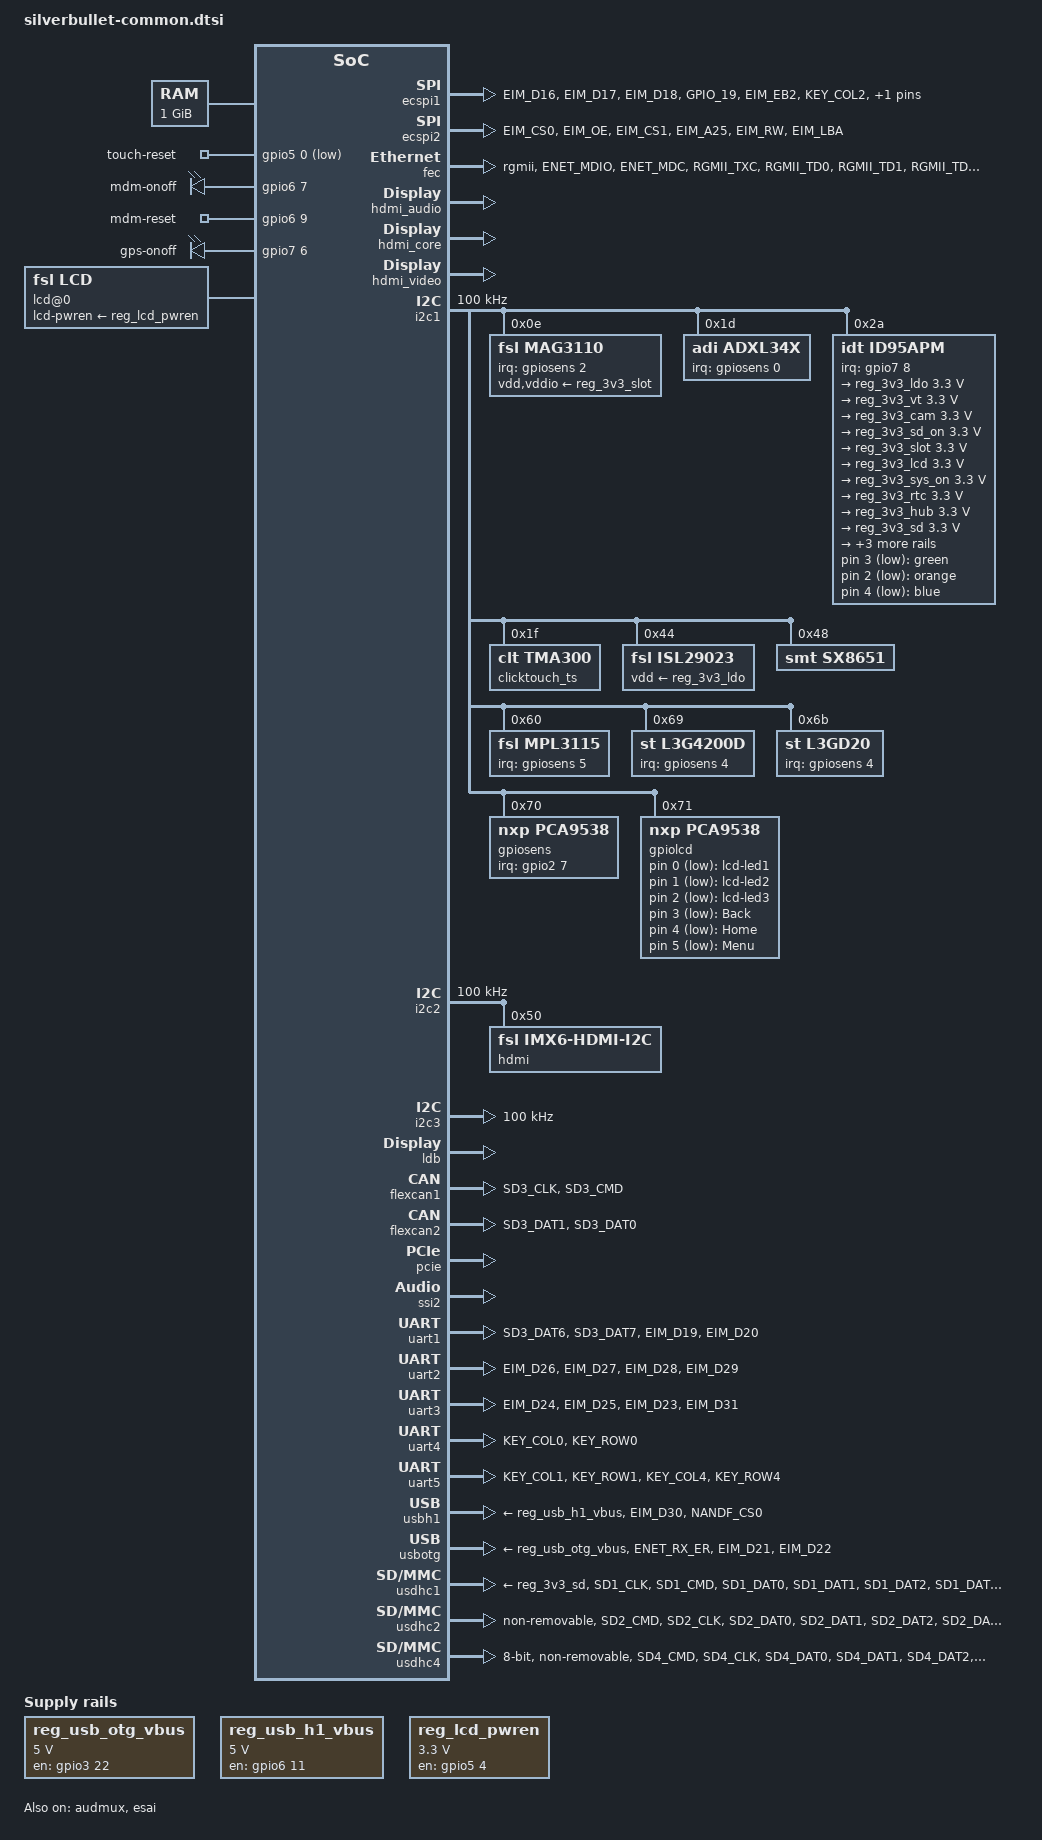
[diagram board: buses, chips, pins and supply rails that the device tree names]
/*
 * Copyright 2012 Freescale Semiconductor, Inc.
 * Copyright 2011 Linaro Ltd.
 *
 * The code contained herein is licensed under the GNU General Public
 * License. You may obtain a copy of the GNU General Public License
 * Version 2 or later at the following locations:
 *
 * http://www.opensource.org/licenses/gpl-license.html
 * http://www.gnu.org/copyleft/gpl.html
 */

#include <dt-bindings/interrupt-controller/irq.h>
#include "silverbullet-pinctrl.h"

/ {
	aliases {
		mxcfb0 = &mxcfb1;
		mxcfb1 = &mxcfb2;
		mxcfb2 = &mxcfb3;
		mxcfb3 = &mxcfb4;
	};

	memory {
		reg = <0x10000000 0x40000000>;
	};

	cpu-leds {
		compatible = "gpio-leds";

		touch-reset {
			label = "touch-reset";
			gpios = <&gpio5 0 1>;
			default-state = "off";
		};

		mdm-onoff {
			label = "mdm-onoff";
			gpios = <&gpio6 7 0>;
			default-state = "off";
		};

		mdm-reset {
			label = "mdm-reset";
			gpios = <&gpio6 9 0>;
			default-state = "off";
		};

		gps-onoff {
			label = "gps-onoff";
			gpios = <&gpio7 6 0>;
			default-state = "off";
		};
	};

	id95apm-leds {
		compatible = "gpio-leds";

		id95apm-dl1 {
			label = "green";
			gpios = <&id95apm 3 1>;
			default-state = "off";
		};

		id95apm-dl2 {
			label = "orange";
			gpios = <&id95apm 2 1>;
			linux,default-trigger = "heartbeat";
		};

		id95apm-led3 {
			label = "blue";
			gpios = <&id95apm 4 1>;
			default-state = "off";
		};
	};

	sens-leds {
		gps-reset {
			label = "gps-reset";
			gpios = <&gpiosens 7 1>;
			default-state = "off";
		};
	};

	lcd-leds {
		compatible = "gpio-leds";

		lcd-led1 {
			label = "lcd-led1";
			gpios = <&gpiolcd 0 1>;
			default-state = "off";
		};

		lcd-led2 {
			label = "lcd-led2";
			gpios = <&gpiolcd 1 1>;
			default-state = "off";
		};

		lcd-led3 {
			label = "lcd-led3";
			gpios = <&gpiolcd 2 1>;
			default-state = "off";
		};
	};

	lcd-keys {
		compatible = "gpio-keys-polled";
		back {
			label = "Back";
			gpios = <&gpiolcd 3 1>;
			linux,code = <158>; /* KEY_BACK */
		};

		home {
			label = "Home";
			gpios = <&gpiolcd 4 1>;
			linux,code = <102>; /* KEY_HOME */
		};

		menu {
			label = "Menu";
			gpios = <&gpiolcd 5 1>;
			linux,code = <139>; /* KEY_MENU */
		};
	};

	regulators {
		compatible = "simple-bus";

		reg_usb_otg_vbus: usb_otg_vbus {
			compatible = "regulator-fixed";
			regulator-name = "usb_otg_vbus";
			regulator-min-microvolt = <5000000>;
			regulator-max-microvolt = <5000000>;
			gpio = <&gpio3 22 0>;
			enable-active-high;
		};

		reg_usb_h1_vbus: usb_h1_vbus {
			compatible = "regulator-fixed";
			regulator-name = "usb_h1_vbus";
			regulator-min-microvolt = <5000000>;
			regulator-max-microvolt = <5000000>;
			gpio = <&gpio6 11 0>;
			enable-active-high;
		};

		reg_lcd_pwren: lcd_pwren {
			compatible = "regulator-fixed";
			regulator-name = "lcd_pwren";
			regulator-min-microvolt = <3300000>;
			regulator-max-microvolt = <3300000>;
			gpio = <&gpio5 4 0>;
			enable-active-high;
		};
	};

	sound-hdmi {
		compatible = "fsl,imx6q-audio-hdmi", "fsl,imx-audio-hdmi";
		model = "imx-audio-hdmi";
		hdmi-controller = <&hdmi_audio>;
	};

	mxcfb1: fb@0 {
		compatible = "fsl,mxc_sdc_fb";
		disp_dev = "lcd";
		interface_pix_fmt = "RGB24";
		mode_str ="SAMSUNG-LMS700";
		default_bpp = <16>;
		int_clk = <0>;
		late_init = <0>;
		status = "ok";
	};

	mxcfb2: fb@1 {
		compatible = "fsl,mxc_sdc_fb";
		disp_dev = "hdmi";
		interface_pix_fmt = "RGB24";
		mode_str ="1920x1080M@60";
		default_bpp = <24>;
		int_clk = <0>;
		late_init = <0>;
		status = "ok";
	};

	mxcfb3: fb@2 {
		compatible = "fsl,mxc_sdc_fb";
		disp_dev = "lcd";
		interface_pix_fmt = "RGB565";
		mode_str ="CLAA-WVGA";
		default_bpp = <16>;
		int_clk = <0>;
		late_init = <0>;
		status = "disabled";
	};

	mxcfb4: fb@3 {
		compatible = "fsl,mxc_sdc_fb";
		disp_dev = "ldb";
		interface_pix_fmt = "RGB666";
		mode_str ="LDB-XGA";
		default_bpp = <16>;
		int_clk = <0>;
		late_init = <0>;
		status = "disabled";
	};

	lcd@0 {
		compatible = "fsl,lcd";
		ipu_id = <0>;
		disp_id = <0>;
		default_ifmt = "RGB24";
		pinctrl-names = "default";
		pinctrl-0 = <&pinctrl_lcd>;
		lcd-pwren-supply = <&reg_lcd_pwren>;
		status = "okay";
	};

	v4l2_cap_0 {
		compatible = "fsl,imx6q-v4l2-capture";
		ipu_id = <0>;
		csi_id = <0>;
		mclk_source = <0>;
		status = "okay";
	};

	v4l2_cap_1 {
		compatible = "fsl,imx6q-v4l2-capture";
		ipu_id = <0>;
		csi_id = <1>;
		mclk_source = <0>;
		status = "okay";
	};

	v4l2_out {
		compatible = "fsl,mxc_v4l2_output";
		status = "okay";
	};
};

&audmux {
	pinctrl-names = "default";
	pinctrl-0 = <&pinctrl_audmux>;
	status = "okay";
};

&cpu0 {
	arm-supply = <&reg_arm>;
	soc-supply = <&reg_soc>;
	pu-supply = <&reg_pu>; /* use pu_dummy if VDDSOC share with VDDPU */
};

&ecspi1 {
	fsl,spi-num-chipselects = <3>;
	cs-gpios = <&gpio2 30 0>, <&gpio4 10 0>, <&gpio4 11 0>;
	pinctrl-names = "default";
	pinctrl-0 = <&pinctrl_ecspi1>;
	status = "okay";
};

&ecspi2 {
	fsl,spi-num-chipselects = <2>;
	cs-gpios = <&gpio2 26 0>, <&gpio2 27 0>;
	pinctrl-names = "default";
	pinctrl-0 = <&pinctrl_ecspi2>;
	status = "okay";
};

&esai {
	pinctrl-names = "default";
	pinctrl-0 = <&pinctrl_esai>;
	status = "okay";
};

&fec {
	pinctrl-names = "default";
	pinctrl-0 = <&pinctrl_enet>;
	phy-mode = "rgmii";
	//phy-reset-gpios = <&gpio1 28 0>;	// let the reset task to U-Boot
	//phy-reset-duration = <100>;		// or phy won't work correctly!
	status = "okay";
};

&gpc {
	fsl,cpu_pupscr_sw2iso = <0xf>;
	fsl,cpu_pupscr_sw = <0xf>;
	fsl,cpu_pdnscr_iso2sw = <0x1>;
	fsl,cpu_pdnscr_iso = <0x1>;
	fsl,ldo-bypass = <0>; /* use ldo-bypass, u-boot will check it and configure */
	fsl,wdog-reset = <1>; /* watchdog select of reset source */
	pu-supply = <&reg_pu>; /* ldo-bypass:use pu_dummy if VDDSOC share with VDDPU */
};

&gpu {
	pu-supply = <&reg_pu>; /* ldo-bypass:use pu_dummy if VDDSOC share with VDDPU */
};

&hdmi_audio {
	status = "okay";
};

&hdmi_core {
	ipu_id = <0>;
	disp_id = <0>;
	status = "okay";
};

&hdmi_video {
	fsl,phy_reg_vlev = <0x0294>;
	fsl,phy_reg_cksymtx = <0x800d>;
	status = "okay";
};

&i2c1 {
	clock-frequency = <100000>;
	pinctrl-names = "default";
	pinctrl-0 = <&pinctrl_i2c1_2>;
	status = "okay";

	mag3110@0e {
		compatible = "fsl,mag3110";
		reg = <0x0e>;
		position = <2>;
		vdd-supply = <&reg_3v3_slot>;
		vddio-supply = <&reg_3v3_slot>;
		interrupt-parent = <&gpiosens>;
		interrupts = <2 IRQ_TYPE_EDGE_FALLING>;
	};

	adxl34x@1d {
		compatible = "adi,adxl34x";
		reg = <0x1d>;
		interrupt-parent = <&gpiosens>;
		interrupts = <0 IRQ_TYPE_EDGE_FALLING>;
	};

	id95apm: id95apm@2a {
		compatible = "idt,id95apm";
		reg = <0x2a>;
		interrupt-parent = <&gpio7>;
		interrupts = <8 IRQ_TYPE_EDGE_FALLING>;

		gpio-controller;
		#gpio-cells = <2>;

		enable-32kHz;

		pwrkey-codes = <102 158 139>; /* KEY_HOME KEY_BACK KEY_MENU */

		regulators {
			reg_3v3_ldo: ldo0 {	/* LDO0: LDO150-0, 0.75-3.70V, 150mA */
				regulator-min-microvolt = <3300000>;
				regulator-max-microvolt = <3300000>;
				regulator-always-on;	// FIXME: need always on?
			};
			reg_3v3_vt: ldo1 {	/* LDO1: LDO150-1, 0.75-3.70V, 150mA */
				regulator-min-microvolt = <3300000>;
				regulator-max-microvolt = <3300000>;
				regulator-always-on;
			};
			reg_3v3_cam: ldo2 {	/* LDO2: LDO150-2, 0.75-3.70V, 150mA */
				regulator-min-microvolt = <3300000>;
				regulator-max-microvolt = <3300000>;
				regulator-always-on;	// FIXME: need always on?
			};
			reg_3v3_sd_on: ldo3 {	/* LDO3: LDO050-0, 0.75-3.70V, 50mA */
				regulator-min-microvolt = <3300000>;
				regulator-max-microvolt = <3300000>;
				regulator-always-on;
			};
			reg_3v3_slot: ldo4 {	/* LDO4: LDO050-1, 0.75-3.70V, 50mA */
				regulator-min-microvolt = <3300000>;
				regulator-max-microvolt = <3300000>;
				regulator-always-on;	// FIXME: need always on?
			};
			reg_3v3_lcd: ldo5 {	/* LDO5: LDO050-2, 0.75-3.70V, 50mA */
				regulator-min-microvolt = <3300000>;
				regulator-max-microvolt = <3300000>;
				regulator-always-on;	// FIXME: need always on?
			};
			reg_3v3_sys_on: ldo6 {	/* LDO6: LDO050-3, 0.75-3.70V, 50mA */
				regulator-min-microvolt = <3300000>;
				regulator-max-microvolt = <3300000>;
				regulator-always-on;
			};
			reg_3v3_rtc: ldo7 {	/* LDO7: LDO-LP, 3.0 & 3.30V, 1mA */
				regulator-min-microvolt = <3300000>;
				regulator-max-microvolt = <3300000>;
				regulator-always-on;
			};
			reg_3v3_hub: dcdc0 {	/* DCDC0: Buck 500, 0.75-3.70V, 500mA */
				regulator-min-microvolt = <3300000>;
				regulator-max-microvolt = <3300000>;
				regulator-always-on;
			};
			reg_3v3_sd: dcdc1 {	/* DCDC1: Buck 500, 0.75-3.70V, 500mA */
				regulator-min-microvolt = <3300000>;
				regulator-max-microvolt = <3300000>;
				regulator-always-on;	// FIXME: need always on?
			};
			reg_3v3_ref: dcdc2 {	/* DCDC2: Buck 1000, 0.75-3.70V, 1A -> VDD_CORE */
				regulator-min-microvolt = <3300000>;
				regulator-max-microvolt = <3300000>;
				regulator-always-on;
			};
			reg_5v_boost: dcdc3 {	/* DCDC3: Boost 5, 4.05-5.60V, 1000mA */
				regulator-min-microvolt = <5000000>;
				regulator-max-microvolt = <5000000>;
				regulator-always-on;
			};
			reg_vboost_led: dcdc4 {	/* DCDC4: Led Boost, 0.78-25.00 mA */
				regulator-min-microamp = <780>;
				regulator-max-microamp = <25000>;
				regulator-always-on;	// FIXME: need always on?
			};
		};
	};

	clicktouch_ts@1f {
		compatible = "clt,tma300";
		reg = <0x1f>;
	};

	isl29023@44 {
		compatible = "fsl,isl29023";
		reg = <0x44>;
		rext = <100>;
		vdd-supply = <&reg_3v3_ldo>;
		//interrupt-parent = <&id95apm>;// FIXME: need idt gpio irq
		//interrupts = <1 IRQ_TYPE_EDGE_FALLING>;
	};

	sx8651@48 {
		compatible = "smt,sx8651";
		reg = <0x48>;
	};

	mpl3115@60 {
		compatible = "fsl,mpl3115";
		reg = <0x60>;
		interrupt-parent = <&gpiosens>;
		interrupts = <5 IRQ_TYPE_EDGE_FALLING>;
	};


	l3g4200d@69 {
		compatible = "st,l3g4200d";
		reg = <0x69>;
		/* FIXME: .platform_data = &silverbullet_l3g_gyro_data,*/
		interrupt-parent = <&gpiosens>;
		interrupts = <4 IRQ_TYPE_EDGE_FALLING>;
	};

	l3gd20@6b {
		compatible = "st,l3gd20";
		reg = <0x6b>;
		/* FIXME: .platform_data = &silverbullet_l3g_gyro_data,*/
		interrupt-parent = <&gpiosens>;
		interrupts = <4 IRQ_TYPE_EDGE_FALLING>;
	};

	gpiosens: pca9538@70 {
		compatible = "nxp,pca9538";
		reg = <0x70>;
		#gpio-cells = <2>;
		gpio-controller;
		interrupt-parent = <&gpio2>;
		interrupts = <7 IRQ_TYPE_EDGE_FALLING>;
	};

	gpiolcd: pca9538@71 {
		compatible = "nxp,pca9538";
		reg = <0x71>;
		#gpio-cells = <2>;
		gpio-controller;
		//interrupt-parent = <&id95apm>;// FIXME: need idt gpio irq
		//interrupts = <1 IRQ_TYPE_EDGE_FALLING>;
	};
};

&i2c2 {
	clock-frequency = <100000>;
	pinctrl-names = "default";
	pinctrl-0 = <&pinctrl_i2c2_2>;
	status = "okay";

	hdmi: edid@50 {
		compatible = "fsl,imx6-hdmi-i2c";
		reg = <0x50>;
	};
};

&i2c3 {
	clock-frequency = <100000>;
	pinctrl-names = "default";
	pinctrl-0 = <&pinctrl_i2c3_2>;
	status = "okay";
};

&iomuxc {
	pinctrl-names = "default";
	pinctrl-0 = <&pinctrl_hog>;

	silverbullet {
		pinctrl_hog: hoggrp {
			fsl,pins = <
				MX6QDL_PAD_NANDF_D0__GPIO2_IO00		PAD_CTL_NONE	// GPIO/nIRQ0
				MX6QDL_PAD_NANDF_D1__GPIO2_IO01		PAD_CTL_NONE	// GPIO/nIRQ1
				MX6QDL_PAD_NANDF_D2__GPIO2_IO02		PAD_CTL_NONE	// GPIO/nIRQ2
				MX6QDL_PAD_NANDF_D3__GPIO2_IO03		PAD_CTL_NONE	// GPIO/nIRQ3
				MX6QDL_PAD_NANDF_D4__GPIO2_IO04		PAD_CTL_NONE	// GPIO/nIRQ4
				MX6QDL_PAD_NANDF_D5__GPIO2_IO05		PAD_CTL_NONE	// GPIO/nIRQ5
				MX6QDL_PAD_NANDF_D6__GPIO2_IO06		PAD_CTL_NONE	// GPIO/nIRQ6
				MX6QDL_PAD_NANDF_D7__GPIO2_IO07		PAD_CTL_NONE	// GPIO/nIRQ7
				MX6QDL_PAD_NANDF_CLE__GPIO6_IO07	PAD_CTL_NONE	// GPIO8
				MX6QDL_PAD_NANDF_WP_B__GPIO6_IO09	PAD_CTL_NONE	// GPIO9
				MX6QDL_PAD_NANDF_RB0__GPIO6_IO10	PAD_CTL_NONE	// GPIO10
				MX6QDL_PAD_CSI0_DATA_EN__GPIO5_IO20	PAD_CTL_NONE	// GPIO11
				MX6QDL_PAD_SD3_DAT2__GPIO7_IO06		PAD_CTL_NONE	// GPIO12
				MX6QDL_PAD_SD3_DAT3__GPIO7_IO07		PAD_CTL_NONE	// GPIO13
				MX6QDL_PAD_SD3_DAT4__GPIO7_IO01		PAD_CTL_NONE	// GPIO14
				MX6QDL_PAD_SD3_DAT5__GPIO7_IO00		PAD_CTL_NONE	// GPIO15
				MX6QDL_PAD_NANDF_CS3__GPIO6_IO16	PAD_CTL_NONE	// LTC3676 irq
				MX6QDL_PAD_SD3_RST__GPIO7_IO08		PAD_CTL_NONE	// ID95APM irq
				MX6QDL_PAD_EIM_EB0__GPIO2_IO28		PAD_CTL_NONE	// SYS_ALIVE
				MX6QDL_PAD_EIM_EB1__GPIO2_IO29		PAD_CTL_NONE	// PSWITCH_PULSE
				MX6QDL_PAD_DI0_PIN4__GPIO4_IO20		PAD_CTL_NONE	// LVDS backlight control
				MX6QDL_PAD_ENET_TXD1__GPIO1_IO29	PAD_CTL_NONE	// UART5 DTR
				MX6QDL_PAD_EIM_A16__GPIO2_IO22		PAD_CTL_NONE	// UART5 DCD
				MX6QDL_PAD_EIM_A17__GPIO2_IO21		PAD_CTL_NONE	// UART5 RI
				MX6QDL_PAD_EIM_A19__GPIO2_IO19		PAD_CTL_NONE	// UART5 DSR
			>;
		};

		pinctrl_audmux: audmuxgrp {
			fsl,pins = <
				MX6QDL_PAD_CSI0_DAT4__AUD3_TXC		SILVERBULLET_PAD_CTRL_AUD
				MX6QDL_PAD_CSI0_DAT5__AUD3_TXD		SILVERBULLET_PAD_CTRL_AUD
				MX6QDL_PAD_CSI0_DAT6__AUD3_TXFS		SILVERBULLET_PAD_CTRL_AUD
				MX6QDL_PAD_CSI0_DAT7__AUD3_RXD		SILVERBULLET_PAD_CTRL_AUD
			>;
		};

		pinctrl_esai: esaigrp {
			fsl,pins = <
				MX6QDL_PAD_EIM_BCLK__GPIO6_IO31		PAD_CTL_NONE	// reset
				MX6QDL_PAD_ENET_CRS_DV__ESAI_TX_CLK	SILVERBULLET_PAD_CTL_ESAI
				MX6QDL_PAD_GPIO_1__ESAI_RX_CLK		SILVERBULLET_PAD_CTL_ESAI
				MX6QDL_PAD_GPIO_2__ESAI_TX_FS		SILVERBULLET_PAD_CTL_ESAI
				MX6QDL_PAD_GPIO_5__ESAI_TX2_RX3		SILVERBULLET_PAD_CTL_ESAI
				MX6QDL_PAD_GPIO_7__ESAI_TX4_RX1		SILVERBULLET_PAD_CTL_ESAI
				MX6QDL_PAD_GPIO_8__ESAI_TX5_RX0		SILVERBULLET_PAD_CTL_ESAI
				MX6QDL_PAD_GPIO_9__ESAI_RX_FS		SILVERBULLET_PAD_CTL_ESAI
				MX6QDL_PAD_GPIO_17__ESAI_TX0		SILVERBULLET_PAD_CTL_ESAI
				MX6QDL_PAD_GPIO_18__ESAI_TX1		SILVERBULLET_PAD_CTL_ESAI
			>;
		};

		pinctrl_ecspi1: ecspi1grp {
			fsl,pins = <
				MX6QDL_PAD_EIM_D16__ECSPI1_SCLK		SILVERBULLET_PAD_CTRL_ECSPI
				MX6QDL_PAD_EIM_D17__ECSPI1_MISO		SILVERBULLET_PAD_CTRL_ECSPI
				MX6QDL_PAD_EIM_D18__ECSPI1_MOSI		SILVERBULLET_PAD_CTRL_ECSPI
				MX6QDL_PAD_GPIO_19__ECSPI1_RDY		SILVERBULLET_PAD_CTRL_ECSPI
				MX6QDL_PAD_EIM_EB2__GPIO2_IO30		SILVERBULLET_PAD_CTRL_ECSPI
				MX6QDL_PAD_KEY_COL2__GPIO4_IO10		SILVERBULLET_PAD_CTRL_ECSPI
				MX6QDL_PAD_KEY_ROW2__GPIO4_IO11		SILVERBULLET_PAD_CTRL_ECSPI
			>;
		};

		pinctrl_ecspi2: ecspi2grp {
			fsl,pins = <
				MX6QDL_PAD_EIM_CS0__ECSPI2_SCLK		SILVERBULLET_PAD_CTRL_ECSPI
				MX6QDL_PAD_EIM_OE__ECSPI2_MISO		SILVERBULLET_PAD_CTRL_ECSPI
				MX6QDL_PAD_EIM_CS1__ECSPI2_MOSI		SILVERBULLET_PAD_CTRL_ECSPI
				MX6QDL_PAD_EIM_A25__ECSPI2_RDY		SILVERBULLET_PAD_CTRL_ECSPI
				MX6QDL_PAD_EIM_RW__GPIO2_IO26		SILVERBULLET_PAD_CTRL_ECSPI
				MX6QDL_PAD_EIM_LBA__GPIO2_IO27		SILVERBULLET_PAD_CTRL_ECSPI
			>;
		};

		pinctrl_enet: enetgrp {
			fsl,pins = <
				MX6QDL_PAD_ENET_MDIO__ENET_MDIO		SILVERBULLET_PAD_CTRL_ENET
				MX6QDL_PAD_ENET_MDC__ENET_MDC		SILVERBULLET_PAD_CTRL_ENET
				MX6QDL_PAD_RGMII_TXC__RGMII_TXC		SILVERBULLET_PAD_CTRL_ENET
				MX6QDL_PAD_RGMII_TD0__RGMII_TD0		SILVERBULLET_PAD_CTRL_ENET
				MX6QDL_PAD_RGMII_TD1__RGMII_TD1		SILVERBULLET_PAD_CTRL_ENET
				MX6QDL_PAD_RGMII_TD2__RGMII_TD2		SILVERBULLET_PAD_CTRL_ENET
				MX6QDL_PAD_RGMII_TD3__RGMII_TD3		SILVERBULLET_PAD_CTRL_ENET
				MX6QDL_PAD_RGMII_TX_CTL__RGMII_TX_CTL	SILVERBULLET_PAD_CTRL_ENET
				MX6QDL_PAD_ENET_REF_CLK__ENET_TX_CLK	SILVERBULLET_PAD_CTRL_ENET
				MX6QDL_PAD_RGMII_RXC__RGMII_RXC		SILVERBULLET_PAD_CTRL_ENET
				MX6QDL_PAD_RGMII_RD0__RGMII_RD0		SILVERBULLET_PAD_CTRL_ENET
				MX6QDL_PAD_RGMII_RD1__RGMII_RD1		SILVERBULLET_PAD_CTRL_ENET
				MX6QDL_PAD_RGMII_RD2__RGMII_RD2		SILVERBULLET_PAD_CTRL_ENET
				MX6QDL_PAD_RGMII_RD3__RGMII_RD3		SILVERBULLET_PAD_CTRL_ENET
				MX6QDL_PAD_RGMII_RX_CTL__RGMII_RX_CTL	SILVERBULLET_PAD_CTRL_ENET
				MX6QDL_PAD_ENET_RXD1__GPIO1_IO26	SILVERBULLET_PAD_CTRL_ENET	/* RGMII Phy irq */
				MX6QDL_PAD_ENET_TX_EN__GPIO1_IO28	SILVERBULLET_PAD_CTRL_ENET	/* RGMII reset */
			>;
		};

		pinctrl_i2c1: i2c1grp {
			fsl,pins = <
				MX6QDL_PAD_CSI0_DAT8__I2C1_SDA		SILVERBULLET_PAD_CTRL_I2C
				MX6QDL_PAD_CSI0_DAT9__I2C1_SCL		SILVERBULLET_PAD_CTRL_I2C
			>;
		};

		pinctrl_i2c2: i2c2grp {
			fsl,pins = <
				MX6QDL_PAD_KEY_COL3__I2C2_SCL		SILVERBULLET_PAD_CTRL_I2C
				MX6QDL_PAD_KEY_ROW3__I2C2_SDA		SILVERBULLET_PAD_CTRL_I2C
			>;
		};

		pinctrl_i2c3: i2c3grp {
			fsl,pins = <
				MX6QDL_PAD_GPIO_3__I2C3_SCL		SILVERBULLET_PAD_CTRL_I2C
				MX6QDL_PAD_GPIO_6__I2C3_SDA		SILVERBULLET_PAD_CTRL_I2C
			>;
		};

		pinctrl_lcd: lcdgrp {
			fsl,pins = <
				MX6QDL_PAD_EIM_A24__GPIO5_IO04			PAD_CTL_NONE		// LCD power enable
				MX6QDL_PAD_EIM_WAIT__GPIO5_IO00			PAD_CTL_NONE		// LCD reset
				MX6QDL_PAD_DI0_DISP_CLK__IPU1_DI0_DISP_CLK	PAD_CTL_DSE_120ohm
				MX6QDL_PAD_DI0_PIN2__IPU1_DI0_PIN02		PAD_CTL_DSE_120ohm	// HSync
				MX6QDL_PAD_DI0_PIN3__IPU1_DI0_PIN03		PAD_CTL_DSE_120ohm	// VSync
				MX6QDL_PAD_DI0_PIN15__IPU1_DI0_PIN15		PAD_CTL_DSE_120ohm	// Data enable
				MX6QDL_PAD_DISP0_DAT0__IPU1_DISP0_DATA00	PAD_CTL_DSE_120ohm
				MX6QDL_PAD_DISP0_DAT1__IPU1_DISP0_DATA01	PAD_CTL_DSE_120ohm
				MX6QDL_PAD_DISP0_DAT2__IPU1_DISP0_DATA02	PAD_CTL_DSE_120ohm
				MX6QDL_PAD_DISP0_DAT3__IPU1_DISP0_DATA03	PAD_CTL_DSE_120ohm
				MX6QDL_PAD_DISP0_DAT4__IPU1_DISP0_DATA04	PAD_CTL_DSE_120ohm
				MX6QDL_PAD_DISP0_DAT5__IPU1_DISP0_DATA05	PAD_CTL_DSE_120ohm
				MX6QDL_PAD_DISP0_DAT6__IPU1_DISP0_DATA06	PAD_CTL_DSE_120ohm
				MX6QDL_PAD_DISP0_DAT7__IPU1_DISP0_DATA07	PAD_CTL_DSE_120ohm
				MX6QDL_PAD_DISP0_DAT8__IPU1_DISP0_DATA08	PAD_CTL_DSE_120ohm
				MX6QDL_PAD_DISP0_DAT9__IPU1_DISP0_DATA09	PAD_CTL_DSE_120ohm
				MX6QDL_PAD_DISP0_DAT10__IPU1_DISP0_DATA10	PAD_CTL_DSE_120ohm
				MX6QDL_PAD_DISP0_DAT11__IPU1_DISP0_DATA11	PAD_CTL_DSE_120ohm
				MX6QDL_PAD_DISP0_DAT12__IPU1_DISP0_DATA12	PAD_CTL_DSE_120ohm
				MX6QDL_PAD_DISP0_DAT13__IPU1_DISP0_DATA13	PAD_CTL_DSE_120ohm
				MX6QDL_PAD_DISP0_DAT14__IPU1_DISP0_DATA14	PAD_CTL_DSE_120ohm
				MX6QDL_PAD_DISP0_DAT15__IPU1_DISP0_DATA15	PAD_CTL_DSE_120ohm
				MX6QDL_PAD_DISP0_DAT16__IPU1_DISP0_DATA16	PAD_CTL_DSE_120ohm
				MX6QDL_PAD_DISP0_DAT17__IPU1_DISP0_DATA17	PAD_CTL_DSE_120ohm
				MX6QDL_PAD_DISP0_DAT18__IPU1_DISP0_DATA18	PAD_CTL_DSE_120ohm
				MX6QDL_PAD_DISP0_DAT19__IPU1_DISP0_DATA19	PAD_CTL_DSE_120ohm
				MX6QDL_PAD_DISP0_DAT20__IPU1_DISP0_DATA20	PAD_CTL_DSE_120ohm
				MX6QDL_PAD_DISP0_DAT21__IPU1_DISP0_DATA21	PAD_CTL_DSE_120ohm
				MX6QDL_PAD_DISP0_DAT22__IPU1_DISP0_DATA22	PAD_CTL_DSE_120ohm
				MX6QDL_PAD_DISP0_DAT23__IPU1_DISP0_DATA23	PAD_CTL_DSE_120ohm
			>;
		};

		pinctrl_flexcan1: flexcan1grp {
			fsl,pins = <
				MX6QDL_PAD_SD3_CLK__FLEXCAN1_RX		PAD_CTL_NONE
				MX6QDL_PAD_SD3_CMD__FLEXCAN1_TX		PAD_CTL_NONE
			>;
		};

		pinctrl_flexcan2: flexcan2grp {
			fsl,pins = <
				MX6QDL_PAD_SD3_DAT1__FLEXCAN2_RX	PAD_CTL_NONE
				MX6QDL_PAD_SD3_DAT0__FLEXCAN2_TX	PAD_CTL_NONE
			>;
		};

		pinctrl_uart1: uart1grp {
			fsl,pins = <
				MX6QDL_PAD_SD3_DAT6__UART1_RX_DATA	SILVERBULLET_PAD_CTRL_UART
				MX6QDL_PAD_SD3_DAT7__UART1_TX_DATA	SILVERBULLET_PAD_CTRL_UART
				MX6QDL_PAD_EIM_D19__UART1_CTS_B		SILVERBULLET_PAD_CTRL_UART
				MX6QDL_PAD_EIM_D20__UART1_RTS_B		SILVERBULLET_PAD_CTRL_UART
			>;
		};

		pinctrl_uart2: uart2grp {
			fsl,pins = <
				MX6QDL_PAD_EIM_D26__UART2_TX_DATA	SILVERBULLET_PAD_CTRL_UART
				MX6QDL_PAD_EIM_D27__UART2_RX_DATA	SILVERBULLET_PAD_CTRL_UART
				MX6QDL_PAD_EIM_D28__UART2_CTS_B		SILVERBULLET_PAD_CTRL_UART
				MX6QDL_PAD_EIM_D29__UART2_RTS_B		SILVERBULLET_PAD_CTRL_UART
			>;
		};

		pinctrl_uart3: uart3grp {
			fsl,pins = <
				MX6QDL_PAD_EIM_D24__UART3_TX_DATA	SILVERBULLET_PAD_CTRL_UART
				MX6QDL_PAD_EIM_D25__UART3_RX_DATA	SILVERBULLET_PAD_CTRL_UART
				MX6QDL_PAD_EIM_D23__UART3_CTS_B		SILVERBULLET_PAD_CTRL_UART
				MX6QDL_PAD_EIM_D31__UART3_RTS_B		SILVERBULLET_PAD_CTRL_UART
			>;
		};

		pinctrl_uart4: uart4grp {
			fsl,pins = <
				MX6QDL_PAD_KEY_COL0__UART4_TX_DATA	SILVERBULLET_PAD_CTRL_UART
				MX6QDL_PAD_KEY_ROW0__UART4_RX_DATA	SILVERBULLET_PAD_CTRL_UART
			>;
		};

		pinctrl_uart5: uart5grp {
			fsl,pins = <
				MX6QDL_PAD_KEY_COL1__UART5_TX_DATA	SILVERBULLET_PAD_CTRL_UART
				MX6QDL_PAD_KEY_ROW1__UART5_RX_DATA	SILVERBULLET_PAD_CTRL_UART
				MX6QDL_PAD_KEY_COL4__UART5_RTS_B	SILVERBULLET_PAD_CTRL_UART
				MX6QDL_PAD_KEY_ROW4__UART5_CTS_B	SILVERBULLET_PAD_CTRL_UART
			>;
		};

		pinctrl_usbotg: usbotggrp {
			fsl,pins = <
				MX6QDL_PAD_ENET_RX_ER__USB_OTG_ID	SILVERBULLET_PAD_CTRL_USB_OTG_ID
				MX6QDL_PAD_EIM_D21__USB_OTG_OC		SILVERBULLET_PAD_CTRL_USB_OC
				MX6QDL_PAD_EIM_D22__GPIO3_IO22		PAD_CTL_NONE
			>;
		};

		pinctrl_usbh1: usbh1grp {
			fsl,pins = <
				MX6QDL_PAD_EIM_D30__USB_H1_OC		SILVERBULLET_PAD_CTRL_USB_OC
				MX6QDL_PAD_NANDF_CS0__GPIO6_IO11	PAD_CTL_NONE
			>;
		};

		pinctrl_usdhc1: usdhc1grp {
			fsl,pins = <
				MX6QDL_PAD_SD1_CLK__SD1_CLK		SILVERBULLET_PAD_CTRL_SD_SPEED_LOW
				MX6QDL_PAD_SD1_CMD__SD1_CMD		SILVERBULLET_PAD_CTRL_SD_SPEED_LOW
				MX6QDL_PAD_SD1_DAT0__SD1_DATA0		SILVERBULLET_PAD_CTRL_SD_SPEED_LOW
				MX6QDL_PAD_SD1_DAT1__SD1_DATA1		SILVERBULLET_PAD_CTRL_SD_SPEED_LOW
				MX6QDL_PAD_SD1_DAT2__SD1_DATA2		SILVERBULLET_PAD_CTRL_SD_SPEED_LOW
				MX6QDL_PAD_SD1_DAT3__SD1_DATA3		SILVERBULLET_PAD_CTRL_SD_SPEED_LOW
				MX6QDL_PAD_NANDF_CS1__GPIO6_IO14	PAD_CTL_NONE	/* SD1 cd */
				MX6QDL_PAD_NANDF_CS2__GPIO6_IO15	PAD_CTL_NONE	/* SD1 wp */
			>;
		};

		pinctrl_usdhc2: usdhc2grp {
			fsl,pins = <
				MX6QDL_PAD_SD2_CMD__SD2_CMD		SILVERBULLET_PAD_CTRL_SD_SPEED_LOW
				MX6QDL_PAD_SD2_CLK__SD2_CLK		SILVERBULLET_PAD_CTRL_SD_SPEED_LOW
				MX6QDL_PAD_SD2_DAT0__SD2_DATA0		SILVERBULLET_PAD_CTRL_SD_SPEED_LOW
				MX6QDL_PAD_SD2_DAT1__SD2_DATA1		SILVERBULLET_PAD_CTRL_SD_SPEED_LOW
				MX6QDL_PAD_SD2_DAT2__SD2_DATA2		SILVERBULLET_PAD_CTRL_SD_SPEED_LOW
				MX6QDL_PAD_SD2_DAT3__SD2_DATA3		SILVERBULLET_PAD_CTRL_SD_SPEED_LOW
			>;
		};

		pinctrl_usdhc4: usdhc4grp {
			fsl,pins = <
				MX6QDL_PAD_SD4_CMD__SD4_CMD		SILVERBULLET_PAD_CTRL_SD_SPEED_LOW
				MX6QDL_PAD_SD4_CLK__SD4_CLK		SILVERBULLET_PAD_CTRL_SD_SPEED_LOW
				MX6QDL_PAD_SD4_DAT0__SD4_DATA0		SILVERBULLET_PAD_CTRL_SD_SPEED_LOW
				MX6QDL_PAD_SD4_DAT1__SD4_DATA1		SILVERBULLET_PAD_CTRL_SD_SPEED_LOW
				MX6QDL_PAD_SD4_DAT2__SD4_DATA2		SILVERBULLET_PAD_CTRL_SD_SPEED_LOW
				MX6QDL_PAD_SD4_DAT3__SD4_DATA3		SILVERBULLET_PAD_CTRL_SD_SPEED_LOW
				MX6QDL_PAD_SD4_DAT4__SD4_DATA4		SILVERBULLET_PAD_CTRL_SD_SPEED_LOW
				MX6QDL_PAD_SD4_DAT5__SD4_DATA5		SILVERBULLET_PAD_CTRL_SD_SPEED_LOW
				MX6QDL_PAD_SD4_DAT6__SD4_DATA6		SILVERBULLET_PAD_CTRL_SD_SPEED_LOW
				MX6QDL_PAD_SD4_DAT7__SD4_DATA7		SILVERBULLET_PAD_CTRL_SD_SPEED_LOW
				MX6QDL_PAD_NANDF_ALE__GPIO6_IO08	PAD_CTL_NONE	/* SD4 reset */
			>;
		};

		pinctrl_csi: csigrp {
			fsl,pins = <
				MX6QDL_PAD_CSI0_MCLK__IPU1_CSI0_HSYNC		PAD_CTL_NONE
				MX6QDL_PAD_CSI0_PIXCLK__IPU1_CSI0_PIXCLK	PAD_CTL_NONE
				MX6QDL_PAD_CSI0_VSYNC__IPU1_CSI0_VSYNC		PAD_CTL_NONE
				MX6QDL_PAD_CSI0_DAT10__GPIO5_IO28		PAD_CTL_NONE	/* camera CTL */
				MX6QDL_PAD_CSI0_DAT11__GPIO5_IO29		PAD_CTL_NONE	/* camera RESET */
				MX6QDL_PAD_CSI0_DAT12__IPU1_CSI0_DATA12		PAD_CTL_NONE
				MX6QDL_PAD_CSI0_DAT13__IPU1_CSI0_DATA13		PAD_CTL_NONE
				MX6QDL_PAD_CSI0_DAT14__IPU1_CSI0_DATA14		PAD_CTL_NONE
				MX6QDL_PAD_CSI0_DAT15__IPU1_CSI0_DATA15		PAD_CTL_NONE
				MX6QDL_PAD_CSI0_DAT16__IPU1_CSI0_DATA16		PAD_CTL_NONE
				MX6QDL_PAD_CSI0_DAT17__IPU1_CSI0_DATA17		PAD_CTL_NONE
				MX6QDL_PAD_CSI0_DAT18__IPU1_CSI0_DATA18		PAD_CTL_NONE
				MX6QDL_PAD_CSI0_DAT19__IPU1_CSI0_DATA19		PAD_CTL_NONE
			>;
		};

		pinctrl_mipi: mipigrp {
			fsl,pins = <
				MX6QDL_PAD_GPIO_0__CCM_CLKO1		SILVERBULLET_PAD_CTRL_CCM_CLK0
			>;
		};
	};
};

&ldb {
	ipu_id = <0>;
	disp_id = <1>;
	ext_ref = <1>;
	mode = "sep1";
	sec_ipu_id = <1>;
	sec_disp_id = <0>;
	status = "okay";
};

&flexcan1 {
        pinctrl-names = "default";
        pinctrl-0 = <&pinctrl_flexcan1>;
        status = "okay";
};

&flexcan2 {
        pinctrl-names = "default";
        pinctrl-0 = <&pinctrl_flexcan2>;
        status = "okay";
};

&pcie {
	status = "okay";
};


&ssi2 {
	fsl,mode = "i2s-slave";
	status = "okay";
};

&uart1 {
	pinctrl-names = "default";
	pinctrl-0 = <&pinctrl_uart1>;
	status = "okay";
};

&uart2 {
	pinctrl-names = "default";
	pinctrl-0 = <&pinctrl_uart2>;
	status = "okay";
};

&uart3 {
	pinctrl-names = "default";
	pinctrl-0 = <&pinctrl_uart3>;
	status = "okay";
};

&uart4 {
	pinctrl-names = "default";
	pinctrl-0 = <&pinctrl_uart4>;
	status = "okay";
};

&uart5 {
	pinctrl-names = "default";
	pinctrl-0 = <&pinctrl_uart5>;
	status = "okay";
};

&usbh1 {
	vbus-supply = <&reg_usb_h1_vbus>;
	pinctrl-names = "default";
	pinctrl-0 = <&pinctrl_usbh1>;
	status = "okay";
};

&usbotg {
	vbus-supply = <&reg_usb_otg_vbus>;
	pinctrl-names = "default";
	pinctrl-0 = <&pinctrl_usbotg>;
	status = "okay";
};

&usdhc1 {
	pinctrl-names = "default";
	pinctrl-0 = <&pinctrl_usdhc1>;
	cd-gpios = <&gpio6 14 0>;
	wp-gpios = <&gpio6 15 0>;
	vmmc-supply = <&reg_3v3_sd>;
	no-1-8-v;
	keep-power-in-suspend;
	enable-sdio-wakeup;
	status = "okay";
};

&usdhc2 {
	pinctrl-names = "default";
	pinctrl-0 = <&pinctrl_usdhc2>;
	non-removable;
	no-1-8-v;
	keep-power-in-suspend;
	status = "okay";
};

&usdhc4 {
	pinctrl-names = "default";
	pinctrl-0 = <&pinctrl_usdhc4>;
	bus-width = <8>;
	non-removable;
	no-1-8-v;
	keep-power-in-suspend;
	status = "okay";
};

&vpu {
	pu-supply = <&reg_pu>; /* ldo-bypass:use pu_dummy if VDDSOC share with VDDPU */
};
